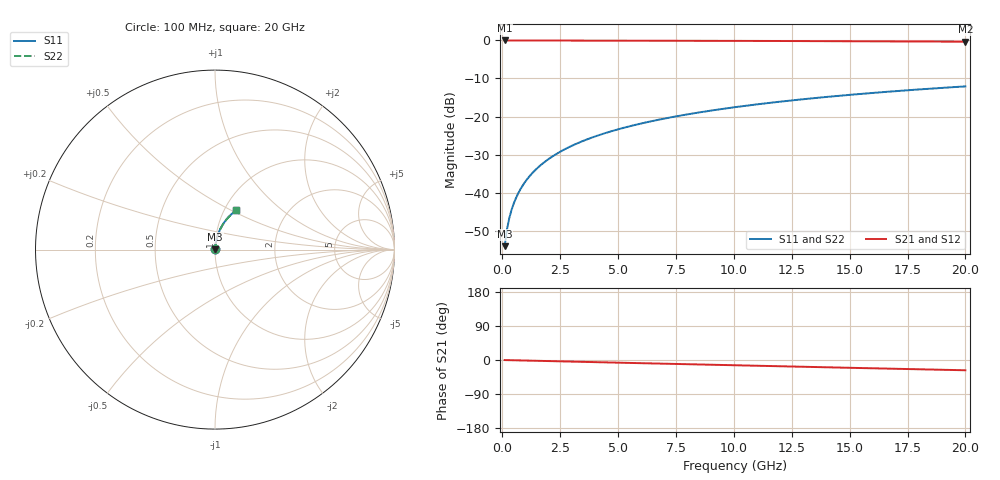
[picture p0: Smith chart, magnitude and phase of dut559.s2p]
! Touchstone file exported from HFSS 2026.1.0
!  File:  C:/ffzhzh/LocalFiles/Ansys_Project_Files/temp_train_BSMRDL_559_1783015300_51716.aedt
!  Generated:  02:03:05 AM Jul  3, 2026
!  Design:  BSMRDL
!  Project:  temp_train_BSMRDL_559_1783015300_51716
! Variables:
!  h_bsmrdl = 4.24um
!  h_ox = 20um
!  h_rdl = 5um
!  h_sub = 80um
!  h_tmrdl = 5um
!  h_tsv = 80um
!  h_via = 3um
!  l_bsmrdl = 367.99um
!  l_sub = 767.99um
!  l_tmrdl = 200um
!  m_sub = 200um
!  pitch = 57.74um
!  r_tsv = 6um
!  s_tmrdl = 10um
!  w_bsmrdl = 29.04um
!  w_sub = 500um
!  w_tmrdl = 12um
!  x_tsv_center1 = 206um
!  x_tsv_center2 = 603.03um
!  x_tsv_center3 = 815.03um
!  x_tsv_center4 = 1212.06um
!  x_tsv_center5 = 1424.06um
!  x_tsv_center6 = 1821.09um
# GHz S MA R 50.000000
! Terminal data exported
! Port[1] = BSM_RDL1_1_T1
! Port[2] = BSM_RDL1_1_T2
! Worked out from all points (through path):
!   200 points, 100 MHz to 20 GHz, reference 50 ohm
!   highest |S21| = -0.01 dB at 100 MHz (marker M1); lowest = -0.3 dB at 20 GHz (marker M2)
!   group delay of S21, straight-line fit = 3.76 ps
!   lowest |S11| = -54.0 dB at 100 MHz (marker M3), VSWR 1.00, Z = 50.1 + j0.152 ohm
!   |S11| at or under -10 dB: start of sweep to end of sweep
!   |S22| runs from -54.0 to -12.1 dB; largest |S21 - S12| = 2.2e-15
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0.1  0.001989 49.8  0.9987 -0.1  0.9987 -0.1  0.001989 49.8
! Gamma 0 0 0 0
! Port Impedance 50 0 50 0
0.2  0.003283 64.9  0.9986 -0.3  0.9986 -0.3  0.003283 64.9
0.3  0.004621 71.0  0.9985 -0.4  0.9985 -0.4  0.004621 71.0
0.4  0.005959 74.5  0.9985 -0.6  0.9985 -0.6  0.005958 74.5
0.5  0.007298 76.7  0.9984 -0.7  0.9984 -0.7  0.007298 76.7
0.7  0.009992 79.5  0.9983 -1.0  0.9983 -1.0  0.009992 79.5
0.8  0.01135 80.3  0.9983 -1.1  0.9983 -1.1  0.01135 80.3
1  0.01407 81.5  0.9982 -1.4  0.9982 -1.4  0.01407 81.5
1.2  0.0168 82.2  0.9981 -1.7  0.9981 -1.7  0.0168 82.2
1.4  0.01953 82.7  0.998 -2.0  0.998 -2.0  0.01953 82.7
1.7  0.02363 83.0  0.9979 -2.4  0.9979 -2.4  0.02363 83.0
2  0.02773 83.1  0.9977 -2.8  0.9977 -2.8  0.02773 83.1
2.7  0.03726 82.8  0.9971 -3.8  0.9971 -3.8  0.03726 82.8
3.5  0.04807 82.1  0.9964 -4.9  0.9964 -4.9  0.04807 82.1
4.2  0.05744 81.3  0.9956 -5.9  0.9956 -5.9  0.05744 81.3
5  0.06805 80.4  0.9946 -7.0  0.9946 -7.0  0.06805 80.4
6.8  0.09157 78.2  0.9921 -9.5  0.9921 -9.5  0.09157 78.2
8.3  0.1108 76.3  0.9897 -11.6  0.9897 -11.6  0.1108 76.3
10.1  0.1335 74.0  0.9864 -14.0  0.9864 -14.0  0.1335 74.0
13.4  0.1739 69.8  0.9794 -18.4  0.9794 -18.4  0.1739 69.8
16.7  0.2126 65.6  0.9713 -22.8  0.9713 -22.8  0.2126 65.6
20  0.2492 61.5  0.9621 -27.1  0.9621 -27.1  0.2492 61.5
